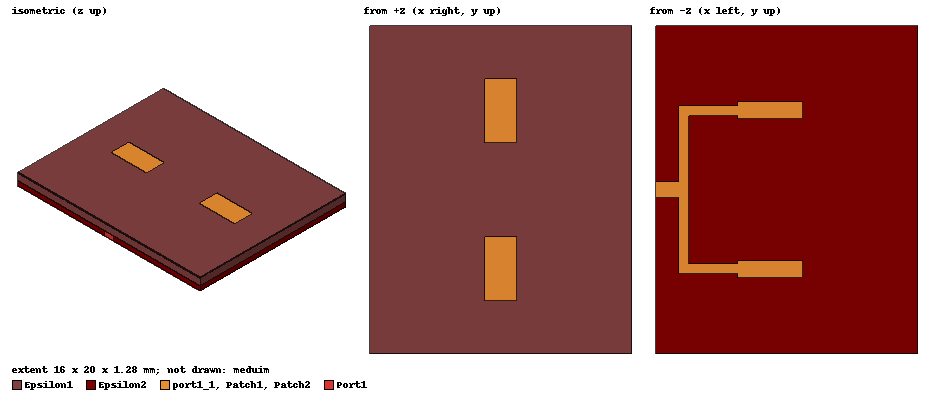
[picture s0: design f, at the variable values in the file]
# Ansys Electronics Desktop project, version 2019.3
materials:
  vacuum: permittivity=1
  Rogers RO3003 (tm): permittivity=3 dielectric_loss_tangent=0.0013
  FR4_epoxy: permittivity=4.4 dielectric_loss_tangent=0.02
  Rogers RO4350 (tm): permittivity=3.66 dielectric_loss_tangent=0.004
  air: permittivity=1.0006 permeability=1.0000004
  copper: permeability=0.999991 conductivity=58000000

design f (HFSS, DrivenModal, model units mm)
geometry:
  Ground = rectangle(corner=((-16/2) mm, (-20/2) mm, 0.5mm), x_size=16mm, y_size=20mm)
  Slot = rectangle(corner=((-0.3/2) mm, (-2.4/2-3.9/2-2.88) mm, 0.5mm), x_size=0.3mm, y_size=2.4mm)
  Ground.subtract(Slot)
  Epsilon2 [Rogers RO4350 (tm)] = box(corner=((-16/2) mm, (-20/2) mm, 0mm), size=(16mm, 20mm, 0.5mm))
  Epsilon1 [Rogers RO4350 (tm)] = box(corner=((-16/2) mm, (-20/2) mm, 0.5mm), size=(16mm, 20mm, 0.78mm))
  Patch1 = rectangle(corner=((-1.96/2) mm, (-3.9-2.8846) mm, 1.28mm), x_size=1.96mm, y_size=3.9mm)
  Feed1 = rectangle(corner=((16/2-2) mm, (-1.025/2) mm, 0mm), x_size=2mm, y_size=1.025mm)
  Port1 = rectangle(corner=((16/2) mm, -0.5043mm, 0mm), y_size=1.086mm, z_size=0.5mm)
  meduim [air] = box(corner=((-20/2) mm, (-50/2) mm, (-10/2) mm), size=(20mm, 50mm, 10mm))
  Patch2 = rectangle(corner=((-1.96/2) mm, 2.8846mm, 1.28mm), x_size=1.96mm, y_size=3.9mm)
  Slot1 = rectangle(corner=((-0.3/2) mm, (-2.4/2+3.9/2+2.88) mm, 0.5mm), x_size=0.3mm, y_size=2.4mm)
  Ground.subtract(Slot1)
  feed1_1 = rectangle(corner=((16/2-2) mm, 0mm, 0mm), x_size=0.6mm, y_size=(-4.83-0.6/2) mm)
  Feed2 = rectangle(corner=((16/2-2) mm, 0mm, 0mm), x_size=0.6mm, y_size=(4.83+0.6/2) mm)
  feed3 = rectangle(corner=((16/2-2) mm, -5.13mm, 0mm), x_size=-3mm, y_size=0.6mm)
  feed4 = rectangle(corner=((16/2-2) mm, 5.13mm, 0mm), x_size=-3mm, y_size=-0.6mm)
  feed1_1.unite(Feed2, feed3, feed4)
  Feed1.unite(feed1_1)
  port1_1 = rectangle(corner=(3mm, (-4.83-1.025/2) mm, 0mm), x_size=(-3-1.96/2) mm, y_size=1.025mm)
  port2 = rectangle(corner=(3mm, (4.83-1.025/2) mm, 0mm), x_size=(-3-1.96/2) mm, y_size=1.025mm)
  port1_1.unite(port2)
  port1_1.unite(Feed1)
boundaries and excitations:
  PerfE2: Perfect E Objects=Ground
  PerfE3: Perfect E Objects=Patch1
  Rad1: Radiation Objects=meduim
  PerfE4: Perfect E Objects=Patch2
  PerfE6: Perfect E Objects=port1_1
  LumpRLC1: Lumped RLC Objects=port1_1 CurrentLine{(3mm, -4.84mm, 0mm) -> (3mm, 4.84mm, 0mm)} Resistance=100ohm
  1: Lumped Port Objects=Port1 Modes{Mode1{IntLine{middle of Port1.edge(z at corner) -> middle of Port1.edge(z opposite corner)} CharImp=Zpi RenormImp=50ohm}} Impedance=50ohm
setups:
  Setup1: HfssDriven Frequency=26GHz MaxDeltaS=0.02 MaximumPasses=6 MinimumPasses=1 MinimumConvergedPasses=1 PercentRefinement=30 BasisOrder=1 PortAccuracy=2
    sweep Sweep: 1GHz to 50GHz, 401 points; Type=Interpolating InterpTolerance=0.5 InterpMaxSolns=250 InterpUsePortImped=false PassivityErrorTolerance=0.0001
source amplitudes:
  1:1: 1W 0deg
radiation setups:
  Infinite Sphere1: Infinite Sphere Theta=0deg..180deg step 2deg Phi=-180deg..180deg step 2deg
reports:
  Gain Plot 1: GainTotal vs Phi, Theta on Setup1 : LastAdaptive, Infinite Sphere1 [Freq=26GHz]
  S Parameter Chart 1: S(1,1) on Setup1 : Sweep [Freq=all]
  S Parameter Plot 1: dB(S(1,1)) vs Freq on Setup1 : Sweep; markers m1 at 10.555GHz, m2 at 14.5975GHz, m3 at 18.7625GHz, m4 at 29.5425GHz, m5 at 1.8575GHz, m6 at 37.015GHz, m7 at 28.685GHz, m8 at 16.19GHz
  Gain Plot 3: dB(GainTotal) vs Phi, Theta on Setup1 : LastAdaptive, Infinite Sphere1 [Freq=26GHz]
